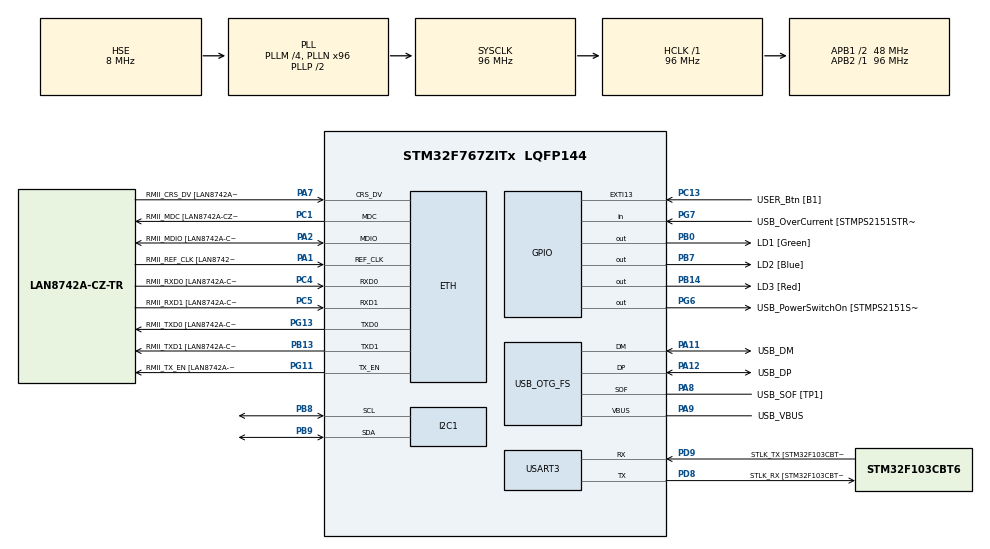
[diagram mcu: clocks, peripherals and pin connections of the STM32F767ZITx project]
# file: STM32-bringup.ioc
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CORTEX_M7.default_mode_Activation=1
ETH.MediaInterface=HAL_ETH_RMII_MODE
ETH.PHY_Name=LAN8742A_PHY_ADDRESS
ETH.PHY_Value=0
ETH.PhyAddress=0
I2C1.Timing=0x20303E5D
Mcu.Family=STM32F7
Mcu.Name=STM32F767ZITx
Mcu.Package=LQFP144
NVIC.PriorityGroup=NVIC_PRIORITYGROUP_4
PA1.GPIO_Label=RMII_REF_CLK [LAN8742A-CZ-TR_REFCLK0]
PA1.Mode=RMII
PA1.Signal=ETH_REF_CLK
PA10.GPIO_Label=USB_ID
PA10.Signal=USB_OTG_FS_ID
PA11.GPIO_Label=USB_DM
PA11.Mode=Device_Only
PA11.Signal=USB_OTG_FS_DM
PA12.GPIO_Label=USB_DP
PA12.Mode=Device_Only
PA12.Signal=USB_OTG_FS_DP
PA13.GPIO_Label=TMS
PA13.Mode=Serial_Wire
PA13.Signal=SYS_JTMS-SWDIO
PA14.GPIO_Label=TCK
PA14.Mode=Serial_Wire
PA14.Signal=SYS_JTCK-SWCLK
PA2.GPIO_Label=RMII_MDIO [LAN8742A-CZ-TR_MDIO]
PA2.Mode=RMII
PA2.Signal=ETH_MDIO
PA7.GPIO_Label=RMII_CRS_DV [LAN8742A-CZ-TR_CRS_DV]
PA7.Mode=RMII
PA7.Signal=ETH_CRS_DV
PA8.GPIO_Label=USB_SOF [TP1]
PA8.Mode=Activate_SOF_FS
PA8.Signal=USB_OTG_FS_SOF
PA9.GPIO_Label=USB_VBUS
PA9.Mode=Activate_VBUS
PA9.Signal=USB_OTG_FS_VBUS
PB0.GPIO_Label=LD1 [Green]
PB0.Signal=GPIO_Output
PB13.GPIO_Label=RMII_TXD1 [LAN8742A-CZ-TR_TXD1]
PB13.Mode=RMII
PB13.Signal=ETH_TXD1
PB14.GPIO_Label=LD3 [Red]
PB14.Signal=GPIO_Output
PB3.GPIO_Label=SWO
PB3.Signal=SYS_JTDO-SWO
PB7.GPIO_Label=LD2 [Blue]
PB7.Signal=GPIO_Output
PB8.GPIO_Pu=GPIO_PULLUP
PB8.Mode=I2C
PB8.Signal=I2C1_SCL
PB9.GPIO_Pu=GPIO_PULLUP
PB9.Mode=I2C
PB9.Signal=I2C1_SDA
PC1.GPIO_Label=RMII_MDC [LAN8742A-CZ-TR_MDC]
PC1.Mode=RMII
PC1.Signal=ETH_MDC
PC13.GPIO_Label=USER_Btn [B1]
PC13.Signal=GPXTI13
PC14/OSC32_IN.Mode=LSE-External-Oscillator
PC14/OSC32_IN.Signal=RCC_OSC32_IN
PC15/OSC32_OUT.Mode=LSE-External-Oscillator
PC15/OSC32_OUT.Signal=RCC_OSC32_OUT
PC4.GPIO_Label=RMII_RXD0 [LAN8742A-CZ-TR_RXD0]
PC4.Mode=RMII
PC4.Signal=ETH_RXD0
PC5.GPIO_Label=RMII_RXD1 [LAN8742A-CZ-TR_RXD1]
PC5.Mode=RMII
PC5.Signal=ETH_RXD1
PD8.GPIO_Label=STLK_RX [STM32F103CBT6_PA3]
PD8.Mode=Asynchronous
PD8.Signal=USART3_TX
PD9.GPIO_Label=STLK_TX [STM32F103CBT6_PA2]
PD9.Mode=Asynchronous
PD9.Signal=USART3_RX
PG11.GPIO_Label=RMII_TX_EN [LAN8742A-CZ-TR_TXEN]
PG11.Mode=RMII
PG11.Signal=ETH_TX_EN
PG13.GPIO_Label=RMII_TXD0 [LAN8742A-CZ-TR_TXD0]
PG13.Mode=RMII
PG13.Signal=ETH_TXD0
PG6.GPIO_Label=USB_PowerSwitchOn [STMPS2151STR_EN]
PG6.Signal=GPIO_Output
PG7.GPIO_Label=USB_OverCurrent [STMPS2151STR_FAULT]
PG7.Signal=GPIO_Input
PH0/OSC_IN.GPIO_Label=MCO [STM32F103CBT6_PA8]
PH0/OSC_IN.Mode=HSE-External-Clock-Source
PH0/OSC_IN.Signal=RCC_OSC_IN
PH1/OSC_OUT.Mode=HSE-External-Clock-Source
PH1/OSC_OUT.Signal=RCC_OSC_OUT
ProjectManager.HeapSize=0x200
ProjectManager.StackSize=0x400
ProjectManager.TargetToolchain=CMake
RCC.48MHZClocksFreq_Value=24000000
RCC.AHBFreq_Value=96000000
RCC.APB1CLKDivider=RCC_HCLK_DIV2
RCC.APB1Freq_Value=48000000
RCC.APB1TimFreq_Value=96000000
RCC.APB2Freq_Value=96000000
RCC.APB2TimFreq_Value=96000000
RCC.CortexFreq_Value=96000000
RCC.HCLKFreq_Value=96000000
RCC.HSE_VALUE=8000000
RCC.HSI_VALUE=16000000
RCC.PLLM=4
RCC.PLLMUL=RCC_PLL_MUL9
RCC.PLLN=96
RCC.PLLQ=4
RCC.PRESCALERUSB=RCC_USBCLKSOURCE_PLL_DIV1_5
RCC.SYSCLKFreq_VALUE=96000000
RCC.SYSCLKSource=RCC_SYSCLKSOURCE_PLLCLK
RCC.SYSCLKSourceVirtual=RCC_SYSCLKSOURCE_PLLCLK
RCC.USBFreq_Value=48000000
RCC.VCOOutputFreq_Value=192000000
USART3.VirtualMode-Asynchronous=VM_ASYNC
USB_OTG_FS.VirtualMode=Device_Only
board=NUCLEO-F767ZI

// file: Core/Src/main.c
/* USER CODE BEGIN Header */
/**
  ******************************************************************************
  * @file           : main.c
  * @brief          : Main program body
  ******************************************************************************
  * @attention
  *
  * Copyright (c) 2026 STMicroelectronics.
  * All rights reserved.
  *
  * This software is licensed under terms that can be found in the LICENSE file
  * in the root directory of this software component.
  * If no LICENSE file comes with this software, it is provided AS-IS.
  *
  ******************************************************************************
  */
/* USER CODE END Header */
#include "main.h"
#include "driver_mpu6050.h"
#include "driver_mpu6050_basic.h"
#include "driver_mpu6050_dmp.h"
#include "driver_mpu6050_interface.h"
#include "stm32f7xx_hal.h"
#include "stm32f7xx_hal_def.h"
#include "stm32f7xx_hal_gpio.h"
#include "string.h"

#if defined ( __ICCARM__ ) /*!< IAR Compiler */
#pragma location=0x2007c000
ETH_DMADescTypeDef  DMARxDscrTab[ETH_RX_DESC_CNT]; /* Ethernet Rx DMA Descriptors */
#pragma location=0x2007c0a0
ETH_DMADescTypeDef  DMATxDscrTab[ETH_TX_DESC_CNT]; /* Ethernet Tx DMA Descriptors */

#elif defined ( __CC_ARM )  /* MDK ARM Compiler */

__attribute__((at(0x2007c000))) ETH_DMADescTypeDef  DMARxDscrTab[ETH_RX_DESC_CNT]; /* Ethernet Rx DMA Descriptors */
__attribute__((at(0x2007c0a0))) ETH_DMADescTypeDef  DMATxDscrTab[ETH_TX_DESC_CNT]; /* Ethernet Tx DMA Descriptors */

#elif defined ( __GNUC__ ) /* GNU Compiler */

ETH_DMADescTypeDef DMARxDscrTab[ETH_RX_DESC_CNT] __attribute__((section(".RxDecripSection"))); /* Ethernet Rx DMA Descriptors */
ETH_DMADescTypeDef DMATxDscrTab[ETH_TX_DESC_CNT] __attribute__((section(".TxDecripSection")));   /* Ethernet Tx DMA Descriptors */
#endif

ETH_TxPacketConfig TxConfig;

ETH_HandleTypeDef heth;

I2C_HandleTypeDef hi2c1;

UART_HandleTypeDef huart3;

PCD_HandleTypeDef hpcd_USB_OTG_FS;

void SystemClock_Config(void);
static void MPU_Config(void);
static void MX_GPIO_Init(void);
static void MX_ETH_Init(void);
static void MX_USART3_UART_Init(void);
static void MX_USB_OTG_FS_PCD_Init(void);
static void MX_I2C1_Init(void);

int main(void)
{

  /* MPU Configuration--------------------------------------------------------*/
  MPU_Config();

  /* MCU Configuration--------------------------------------------------------*/

  /* Reset of all peripherals, Initializes the Flash interface and the Systick. */
  HAL_Init();

  /* Configure the system clock */
  SystemClock_Config();

  /* Initialize all configured peripherals */
  MX_GPIO_Init();
  MX_ETH_Init();
  MX_USART3_UART_Init();
  MX_USB_OTG_FS_PCD_Init();
  MX_I2C1_Init();

  /* Infinite loop */
  /* USER CODE BEGIN WHILE */
  // ---> PUT YOUR PRE SUPER LOOP SETUP CODE HERE <---

  if (mpu6050_dmp_init(MPU6050_ADDRESS_AD0_LOW, &mpu6050_interface_receive_callback, &mpu6050_interface_dmp_tap_callback, &mpu6050_interface_dmp_orient_callback) != 0) {
    // Flash red LED if fails
    HAL_GPIO_TogglePin (GPIOB, GPIO_PIN_14);
  }

  // Static to avoid stack overflow
  static int16_t accel_raw[128][3];
  static int16_t gyro_raw[128][3];
  static float accel_g[128][3];
  static float gyro_dps[128][3];
  static int32_t quat[128][4];
  static float pitch[128];
  static float roll[128];
  static float yaw[128];
  uint16_t l;

  // uint8_t who_am_i = 0;
  // HAL_StatusTypeDef status;

  for(;;)
  {
    /* USER CODE END WHILE */

    /* USER CODE BEGIN 3 */
    //  ---> PUT YOUR SUPER LOOP CODE HERE <---

      l = 128;

      // status = HAL_I2C_Mem_Read(&hi2c1, (0x68 << 1), 0x75, I2C_MEMADD_SIZE_8BIT, &who_am_i, 1, 100);
      //
      // if (status == HAL_OK && who_am_i == 0x68) {
        // Flash green if who_am_i passes
      //   HAL_GPIO_TogglePin(GPIOB, GPIO_PIN_0);
      // } else {
        // Flash red if who_am_i fails
      //   HAL_GPIO_TogglePin(GPIOB, GPIO_PIN_14);
      // }

      if (mpu6050_dmp_read_all(accel_raw, accel_g, gyro_raw, gyro_dps, quat, pitch, roll, yaw, &l) == 0) {
        // Success
        if (l > 0) {
          char msg[256];

          // Accel in milli-g (mg) cause %f doesn't work
          int32_t ax_mg = (int32_t)(accel_g[l-1][0] * 1000.0f);
          int32_t ay_mg = (int32_t)(accel_g[l-1][1] * 1000.0f);
          int32_t az_mg = (int32_t)(accel_g[l-1][2] * 1000.0f);

          // Gyro in centidegrees per sec (cdeg/s) cause %f doesn't work
          int32_t gx_cdps = (int32_t)(gyro_dps[l-1][0] * 100.0f);
          int32_t gy_cdps = (int32_t)(gyro_dps[l-1][1] * 100.0f);
          int32_t gz_cdps = (int32_t)(gyro_dps[l-1][2] * 100.0f);

          // Quaternions scaled directly from +/- 10,000 directly from raw 32 bit DMP integers
          int32_t qw = (int32_t)(((int64_t)quat[l-1][0] * 10000) >> 30);
          int32_t qx = (int32_t)(((int64_t)quat[l-1][1] * 10000) >> 30);
          int32_t qy = (int32_t)(((int64_t)quat[l-1][2] * 10000) >> 30);
          int32_t qz = (int32_t)(((int64_t)quat[l-1][3] * 10000) >> 30);

          // Pitch, roll, and yaw in centidegrees
          int32_t p = (int32_t)(pitch[l-1] * 100.0f);
          int32_t r = (int32_t)(roll[l-1] * 100.0f);
          int32_t y = (int32_t)(yaw[l-1] * 100.0f);

          uint8_t len = snprintf(msg, sizeof(msg),
                                 "Acc[mg]:%ld,%ld,%ld | Gyr[cdps]:%ld,%ld,%ld, | Q[x10k]: %ld,%ld,%ld,%ld | P[x100]:%ld | R[x100]:%ld | Y[x100]:%ld\r\n",
                                 ax_mg, ay_mg, az_mg, gx_cdps, gy_cdps, gz_cdps, qw, qx, qy, qz, p, r, y);

          HAL_UART_Transmit(&huart3, (uint8_t *)msg, (uint16_t) len, 100);
        }
      }

      HAL_Delay(50);

  }
  /* USER CODE END 3 */
}

void SystemClock_Config(void)
{
  RCC_OscInitTypeDef RCC_OscInitStruct = {0};
  RCC_ClkInitTypeDef RCC_ClkInitStruct = {0};

  /** Configure LSE Drive Capability
  */
  HAL_PWR_EnableBkUpAccess();

  /** Configure the main internal regulator output voltage
  */
  __HAL_RCC_PWR_CLK_ENABLE();
  __HAL_PWR_VOLTAGESCALING_CONFIG(PWR_REGULATOR_VOLTAGE_SCALE3);

  /** Initializes the RCC Oscillators according to the specified parameters
  * in the RCC_OscInitTypeDef structure.
  */
  RCC_OscInitStruct.OscillatorType = RCC_OSCILLATORTYPE_HSE;
  RCC_OscInitStruct.HSEState = RCC_HSE_BYPASS;
  RCC_OscInitStruct.PLL.PLLState = RCC_PLL_ON;
  RCC_OscInitStruct.PLL.PLLSource = RCC_PLLSOURCE_HSE;
  RCC_OscInitStruct.PLL.PLLM = 4;
  RCC_OscInitStruct.PLL.PLLN = 96;
  RCC_OscInitStruct.PLL.PLLP = RCC_PLLP_DIV2;
  RCC_OscInitStruct.PLL.PLLQ = 4;
  RCC_OscInitStruct.PLL.PLLR = 2;
  if (HAL_RCC_OscConfig(&RCC_OscInitStruct) != HAL_OK)
  {
    Error_Handler();
  }

  /** Activate the Over-Drive mode
  */
  if (HAL_PWREx_EnableOverDrive() != HAL_OK)
  {
    Error_Handler();
  }

  /** Initializes the CPU, AHB and APB buses clocks
  */
  RCC_ClkInitStruct.ClockType = RCC_CLOCKTYPE_HCLK|RCC_CLOCKTYPE_SYSCLK
                              |RCC_CLOCKTYPE_PCLK1|RCC_CLOCKTYPE_PCLK2;
  RCC_ClkInitStruct.SYSCLKSource = RCC_SYSCLKSOURCE_PLLCLK;
  RCC_ClkInitStruct.AHBCLKDivider = RCC_SYSCLK_DIV1;
  RCC_ClkInitStruct.APB1CLKDivider = RCC_HCLK_DIV2;
  RCC_ClkInitStruct.APB2CLKDivider = RCC_HCLK_DIV1;

  if (HAL_RCC_ClockConfig(&RCC_ClkInitStruct, FLASH_LATENCY_3) != HAL_OK)
  {
    Error_Handler();
  }
}

static void MX_ETH_Init(void)
{

   static uint8_t MACAddr[6];

  heth.Instance = ETH;
  MACAddr[0] = 0x00;
  MACAddr[1] = 0x80;
  MACAddr[2] = 0xE1;
  MACAddr[3] = 0x00;
  MACAddr[4] = 0x00;
  MACAddr[5] = 0x00;
  heth.Init.MACAddr = &MACAddr[0];
  heth.Init.MediaInterface = HAL_ETH_RMII_MODE;
  heth.Init.TxDesc = DMATxDscrTab;
  heth.Init.RxDesc = DMARxDscrTab;
  heth.Init.RxBuffLen = 1524;

  if (HAL_ETH_Init(&heth) != HAL_OK)
  {
    Error_Handler();
  }

  memset(&TxConfig, 0 , sizeof(ETH_TxPacketConfig));
  TxConfig.Attributes = ETH_TX_PACKETS_FEATURES_CSUM | ETH_TX_PACKETS_FEATURES_CRCPAD;
  TxConfig.ChecksumCtrl = ETH_CHECKSUM_IPHDR_PAYLOAD_INSERT_PHDR_CALC;
  TxConfig.CRCPadCtrl = ETH_CRC_PAD_INSERT;

}

static void MX_I2C1_Init(void)
{

  hi2c1.Instance = I2C1;
  hi2c1.Init.Timing = 0x20303E5D;
  hi2c1.Init.OwnAddress1 = 0;
  hi2c1.Init.AddressingMode = I2C_ADDRESSINGMODE_7BIT;
  hi2c1.Init.DualAddressMode = I2C_DUALADDRESS_DISABLE;
  hi2c1.Init.OwnAddress2 = 0;
  hi2c1.Init.OwnAddress2Masks = I2C_OA2_NOMASK;
  hi2c1.Init.GeneralCallMode = I2C_GENERALCALL_DISABLE;
  hi2c1.Init.NoStretchMode = I2C_NOSTRETCH_DISABLE;
  if (HAL_I2C_Init(&hi2c1) != HAL_OK)
  {
    Error_Handler();
  }

  /** Configure Analogue filter
  */
  if (HAL_I2CEx_ConfigAnalogFilter(&hi2c1, I2C_ANALOGFILTER_ENABLE) != HAL_OK)
  {
    Error_Handler();
  }

  /** Configure Digital filter
  */
  if (HAL_I2CEx_ConfigDigitalFilter(&hi2c1, 0) != HAL_OK)
  {
    Error_Handler();
  }

}

static void MX_USART3_UART_Init(void)
{

  huart3.Instance = USART3;
  huart3.Init.BaudRate = 115200;
  huart3.Init.WordLength = UART_WORDLENGTH_8B;
  huart3.Init.StopBits = UART_STOPBITS_1;
  huart3.Init.Parity = UART_PARITY_NONE;
  huart3.Init.Mode = UART_MODE_TX_RX;
  huart3.Init.HwFlowCtl = UART_HWCONTROL_NONE;
  huart3.Init.OverSampling = UART_OVERSAMPLING_16;
  huart3.Init.OneBitSampling = UART_ONE_BIT_SAMPLE_DISABLE;
  huart3.AdvancedInit.AdvFeatureInit = UART_ADVFEATURE_NO_INIT;
  if (HAL_UART_Init(&huart3) != HAL_OK)
  {
    Error_Handler();
  }

}

static void MX_USB_OTG_FS_PCD_Init(void)
{

  hpcd_USB_OTG_FS.Instance = USB_OTG_FS;
  hpcd_USB_OTG_FS.Init.dev_endpoints = 6;
  hpcd_USB_OTG_FS.Init.speed = PCD_SPEED_FULL;
  hpcd_USB_OTG_FS.Init.dma_enable = DISABLE;
  hpcd_USB_OTG_FS.Init.phy_itface = PCD_PHY_EMBEDDED;
  hpcd_USB_OTG_FS.Init.Sof_enable = ENABLE;
  hpcd_USB_OTG_FS.Init.low_power_enable = DISABLE;
  hpcd_USB_OTG_FS.Init.lpm_enable = DISABLE;
  hpcd_USB_OTG_FS.Init.vbus_sensing_enable = ENABLE;
  hpcd_USB_OTG_FS.Init.use_dedicated_ep1 = DISABLE;
  if (HAL_PCD_Init(&hpcd_USB_OTG_FS) != HAL_OK)
  {
    Error_Handler();
  }

}

static void MX_GPIO_Init(void)
{
  GPIO_InitTypeDef GPIO_InitStruct = {0};

  /* GPIO Ports Clock Enable */
  __HAL_RCC_GPIOC_CLK_ENABLE();
  __HAL_RCC_GPIOH_CLK_ENABLE();
  __HAL_RCC_GPIOA_CLK_ENABLE();
  __HAL_RCC_GPIOB_CLK_ENABLE();
  __HAL_RCC_GPIOD_CLK_ENABLE();
  __HAL_RCC_GPIOG_CLK_ENABLE();

  /*Configure GPIO pin Output Level */
  HAL_GPIO_WritePin(GPIOB, LD1_Pin|LD3_Pin|LD2_Pin, GPIO_PIN_RESET);

  /*Configure GPIO pin Output Level */
  HAL_GPIO_WritePin(USB_PowerSwitchOn_GPIO_Port, USB_PowerSwitchOn_Pin, GPIO_PIN_RESET);

  /*Configure GPIO pin : USER_Btn_Pin */
  GPIO_InitStruct.Pin = USER_Btn_Pin;
  GPIO_InitStruct.Mode = GPIO_MODE_IT_RISING;
  GPIO_InitStruct.Pull = GPIO_NOPULL;
  HAL_GPIO_Init(USER_Btn_GPIO_Port, &GPIO_InitStruct);

  /*Configure GPIO pins : LD1_Pin LD3_Pin LD2_Pin */
  GPIO_InitStruct.Pin = LD1_Pin|LD3_Pin|LD2_Pin;
  GPIO_InitStruct.Mode = GPIO_MODE_OUTPUT_PP;
  GPIO_InitStruct.Pull = GPIO_NOPULL;
  GPIO_InitStruct.Speed = GPIO_SPEED_FREQ_LOW;
  HAL_GPIO_Init(GPIOB, &GPIO_InitStruct);

  /*Configure GPIO pin : USB_PowerSwitchOn_Pin */
  GPIO_InitStruct.Pin = USB_PowerSwitchOn_Pin;
  GPIO_InitStruct.Mode = GPIO_MODE_OUTPUT_PP;
  GPIO_InitStruct.Pull = GPIO_NOPULL;
  GPIO_InitStruct.Speed = GPIO_SPEED_FREQ_LOW;
  HAL_GPIO_Init(USB_PowerSwitchOn_GPIO_Port, &GPIO_InitStruct);

  /*Configure GPIO pin : USB_OverCurrent_Pin */
  GPIO_InitStruct.Pin = USB_OverCurrent_Pin;
  GPIO_InitStruct.Mode = GPIO_MODE_INPUT;
  GPIO_InitStruct.Pull = GPIO_NOPULL;
  HAL_GPIO_Init(USB_OverCurrent_GPIO_Port, &GPIO_InitStruct);

}

 /* MPU Configuration */

void MPU_Config(void)
{
  MPU_Region_InitTypeDef MPU_InitStruct = {0};

  /* Disables the MPU */
  HAL_MPU_Disable();

  /** Initializes and configures the Region and the memory to be protected
  */
  MPU_InitStruct.Enable = MPU_REGION_ENABLE;
  MPU_InitStruct.Number = MPU_REGION_NUMBER0;
  MPU_InitStruct.BaseAddress = 0x0;
  MPU_InitStruct.Size = MPU_REGION_SIZE_4GB;
  MPU_InitStruct.SubRegionDisable = 0x87;
  MPU_InitStruct.TypeExtField = MPU_TEX_LEVEL0;
  MPU_InitStruct.AccessPermission = MPU_REGION_NO_ACCESS;
  MPU_InitStruct.DisableExec = MPU_INSTRUCTION_ACCESS_DISABLE;
  MPU_InitStruct.IsShareable = MPU_ACCESS_SHAREABLE;
  MPU_InitStruct.IsCacheable = MPU_ACCESS_NOT_CACHEABLE;
  MPU_InitStruct.IsBufferable = MPU_ACCESS_NOT_BUFFERABLE;

  HAL_MPU_ConfigRegion(&MPU_InitStruct);
  /* Enables the MPU */
  HAL_MPU_Enable(MPU_PRIVILEGED_DEFAULT);

}

void Error_Handler(void)
{
  __disable_irq();
  while (1)
  {
  }
}
